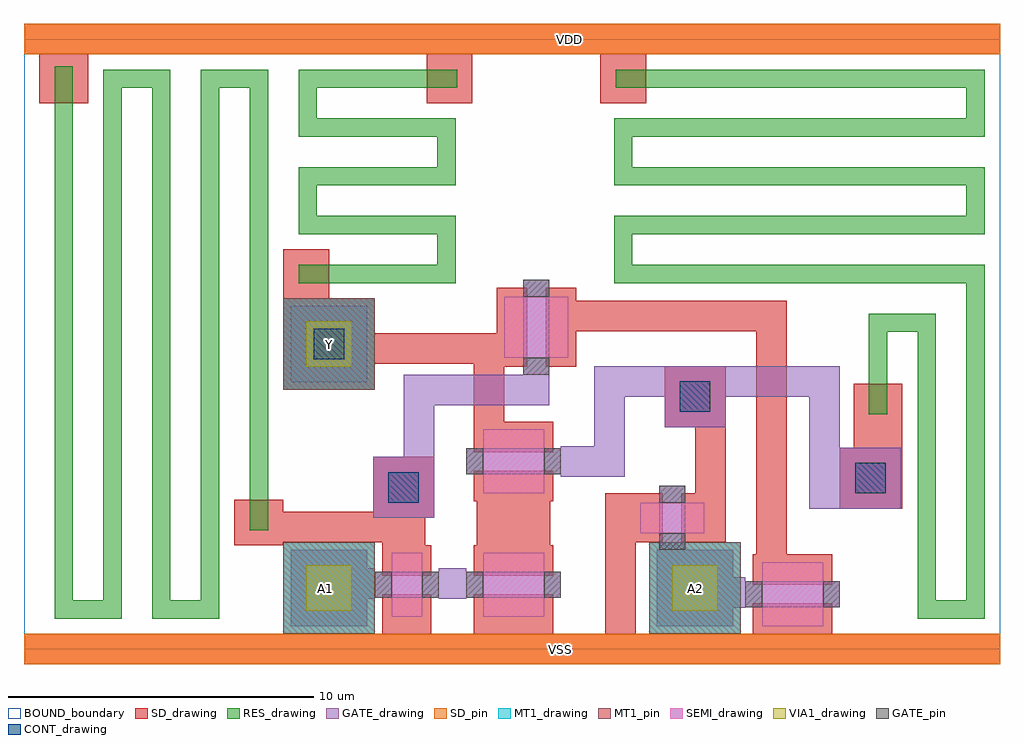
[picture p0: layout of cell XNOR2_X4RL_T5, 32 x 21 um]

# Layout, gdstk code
from math import pi, radians
import gdstk
lib = gdstk.Library(unit=1e-6, precision=1e-09)
def R(c, l, rs):  # rectangles x0, y0, x1, y1
    for r in rs: c.add(gdstk.rectangle(r[:2], r[2:], *l))
def P(c, l, *ps):  # polygons
    for p in ps: c.add(gdstk.Polygon(p, *l))
RES_drawing = (1, 0)
SEMI_drawing = (3, 0)
SD_drawing = (10, 0)
SD_pin = (10, 3)
GATE_drawing = (11, 0)
GATE_pin = (11, 3)
MT1_drawing = (20, 0)
MT1_pin = (20, 3)
CONT_drawing = (30, 0)
VIA1_drawing = (41, 0)
BOUND_boundary = (150, 5)

nch_cdns_772545153670 = lib.new_cell('nch_CDNS_772545153670')
R(nch_cdns_772545153670, SEMI_drawing, [(-1.05,-0.5,1.05,0.5)])
R(nch_cdns_772545153670, SD_drawing, [(-1.3,-0.8,-0.3,0.8), (0.3,-0.8,1.3,0.8)])
R(nch_cdns_772545153670, GATE_drawing, [(-0.425,-1.05,0.425,1.05)])
R(nch_cdns_772545153670, GATE_pin, [(-0.425,-1.05,0.425,-0.5), (-0.425,0.5,0.425,1.05)])

nch_cdns_772545153671 = lib.new_cell('nch_CDNS_772545153671')
R(nch_cdns_772545153671, SEMI_drawing, [(-1.05,-1,1.05,1)])
R(nch_cdns_772545153671, SD_drawing, [(-1.3,-1.3,-0.3,1.3), (0.3,-1.3,1.3,1.3)])
R(nch_cdns_772545153671, GATE_drawing, [(-0.425,-1.55,0.425,1.55)])
R(nch_cdns_772545153671, GATE_pin, [(-0.425,-1.55,0.425,-1), (-0.425,1,0.425,1.55)])

gate_mt1_cdns_7725451536 = lib.new_cell('GATE_MT1_CDNS_772545153670')
R(gate_mt1_cdns_7725451536, GATE_drawing, [(-1.25,-1.25,1.25,1.25)])
R(gate_mt1_cdns_7725451536, MT1_drawing, [(-1.25,-1.25,1.25,1.25)])
R(gate_mt1_cdns_7725451536, VIA1_drawing, [(-0.75,-0.75,0.75,0.75)])

sd_gate_cdns_77254515367 = lib.new_cell('SD_GATE_CDNS_772545153671')
R(sd_gate_cdns_77254515367, SD_drawing, [(-1,-1,1,1)])
R(sd_gate_cdns_77254515367, GATE_drawing, [(-1,-1,1,1)])
R(sd_gate_cdns_77254515367, CONT_drawing, [(-0.5,-0.5,0.5,0.5)])

xnor2_x4rl_t5 = lib.new_cell('XNOR2_X4RL_T5')
R(xnor2_x4rl_t5, SD_drawing, [(27.2,4.6,28.8,8.7), (27.75,4.6,28.75,6.6), (8.5,8.5,11.5,11.5), (8.5,11.5,10,13.1), (8.5,11.5,10,13.1), (0.5,17.9,2.1,19.5), (13.2,17.9,14.7,19.5), (18.9,17.9,20.4,19.5)])
R(xnor2_x4rl_t5, SD_pin, [(0,-0.5,32,0.5), (0,19.5,32,20.5)])
P(xnor2_x4rl_t5, GATE_drawing, [(13.7,2.65),(13.7,1.65),(13.6,1.65),(13.6,1.725),(13.55,1.725),(13.55,2.475),(13.6,2.475),(13.6,2.65)],
  [(23.55,2.35),(23.55,1.35),(23.65,1.35),(23.65,1.425),(23.7,1.425),(23.7,2.175),(23.65,2.175),(23.65,2.35)],
  [(17.7,6.65),(17.7,5.65),(17.6,5.65),(17.6,5.775),(17.55,5.775),(17.55,6.525),(17.6,6.525),(17.6,6.65)],
  [(14.4,2.65),(14.4,1.65),(14.5,1.65),(14.5,1.725),(14.55,1.725),(14.55,2.475),(14.5,2.475),(14.5,2.65)],
  [(11.4,2.65),(11.4,1.65),(11.5,1.65),(11.5,1.725),(11.55,1.725),(11.55,2.475),(11.5,2.475),(11.5,2.65)],
  [(20.75,3.15),(21.725,3.15),(21.725,3.25),(21.625,3.25),(21.625,3.3),(20.875,3.3),(20.875,3.25),(20.75,3.25)],
  [(17.225,8.9),(16.35,8.9),(16.35,9),(16.475,9),(16.475,9.05),(17.225,9.05)])
R(xnor2_x4rl_t5, MT1_drawing, [(8.5,0.5,11.5,3.5), (8.5,0.5,11.5,3.5), (20.5,0.5,23.5,3.5), (8.5,8.5,11.5,11.5)])
R(xnor2_x4rl_t5, MT1_pin, [(8.5,0.5,11.5,3.5), (20.5,0.5,23.5,3.5), (8.5,8.5,11.5,11.5)])
R(xnor2_x4rl_t5, BOUND_boundary, [(0,0,32,20)])
xnor2_x4rl_t5.add(gdstk.FlexPath([(18.1,10.925),(24.5,10.925)], 1, ends=(0, 0.5), simple_path=True, layer=10, datatype=0))  # SD_drawing
xnor2_x4rl_t5.add(gdstk.FlexPath([(22.5,7.275),(22.5,3.5)], 1, ends="flush", simple_path=True, layer=10, datatype=0))  # SD_drawing
xnor2_x4rl_t5.add(gdstk.FlexPath([(11.5,9.85),(15.75,9.85)], 1, ends="flush", simple_path=True, layer=10, datatype=0))  # SD_drawing
xnor2_x4rl_t5.add(gdstk.FlexPath([(24.5,10.925),(24.5,3.1)], 1, ends=(0.5, 0), simple_path=True, layer=10, datatype=0))  # SD_drawing
xnor2_x4rl_t5.add(gdstk.FlexPath([(8.5,4),(11.75,4)], 1, ends="flush", simple_path=True, layer=10, datatype=0))  # SD_drawing
xnor2_x4rl_t5.add(gdstk.FlexPath([(16.15,0.8),(16.15,0)], 2.4, ends="flush", simple_path=True, layer=10, datatype=0))  # SD_drawing
xnor2_x4rl_t5.add(gdstk.FlexPath([(6.9,4.15),(8.5,4.15)], 1.5, ends="flush", simple_path=True, layer=10, datatype=0))  # SD_drawing
xnor2_x4rl_t5.add(gdstk.FlexPath([(16.05,3.4),(16.05,4.85)], 2.4, ends="flush", simple_path=True, layer=10, datatype=0))  # SD_drawing
xnor2_x4rl_t5.add(gdstk.FlexPath([(12.65,1.15),(12.65,0.45)], 1.4, ends="flush", simple_path=True, layer=10, datatype=0))  # SD_drawing
xnor2_x4rl_t5.add(gdstk.FlexPath([(12.45,3.4),(12.45,4.4)], 1.4, ends="flush", simple_path=True, layer=10, datatype=0))  # SD_drawing
xnor2_x4rl_t5.add(gdstk.FlexPath([(19.55,5.1),(19.55,0.5)], 1, ends="flush", simple_path=True, layer=10, datatype=0))  # SD_drawing
xnor2_x4rl_t5.add(gdstk.FlexPath([(15.95,0.8),(15.95,0)], 2.4, ends="flush", simple_path=True, layer=10, datatype=0))  # SD_drawing
xnor2_x4rl_t5.add(gdstk.FlexPath([(12.45,1.15),(12.45,0.45)], 1.4, ends="flush", simple_path=True, layer=10, datatype=0))  # SD_drawing
xnor2_x4rl_t5.add(gdstk.FlexPath([(15.25,9.35),(15.25,7.45)], 1, ends="flush", simple_path=True, layer=10, datatype=0))  # SD_drawing
xnor2_x4rl_t5.add(gdstk.FlexPath([(0,20),(32,20)], 1, ends="flush", simple_path=True, layer=10, datatype=0))  # SD_drawing
xnor2_x4rl_t5.add(gdstk.FlexPath([(0,0),(32,0)], 1, ends="flush", simple_path=True, layer=10, datatype=0))  # SD_drawing
xnor2_x4rl_t5.add(gdstk.FlexPath([(18.7,8.775),(26.25,8.775)], 1, ends=(0, 0.5), simple_path=True, layer=11, datatype=0))  # GATE_drawing
xnor2_x4rl_t5.add(gdstk.FlexPath([(17.225,8.5),(12.95,8.5)], 1, ends=(0, 0.5), simple_path=True, layer=11, datatype=0))  # GATE_drawing
xnor2_x4rl_t5.add(gdstk.FlexPath([(12.95,8.5),(12.95,6.1)], 1, ends=(0.5, 0), simple_path=True, layer=11, datatype=0))  # GATE_drawing
xnor2_x4rl_t5.add(gdstk.FlexPath([(26.25,8.775),(26.25,4.6)], 1, ends=(0.5, 0), simple_path=True, layer=11, datatype=0))  # GATE_drawing
xnor2_x4rl_t5.add(gdstk.FlexPath([(17.7,6.15),(19.2,6.15)], 1, ends=(0, 0.5), simple_path=True, layer=11, datatype=0))  # GATE_drawing
xnor2_x4rl_t5.add(gdstk.FlexPath([(13.7,2.15),(14.4,2.15)], 1, ends="flush", simple_path=True, layer=11, datatype=0))  # GATE_drawing
xnor2_x4rl_t5.add(gdstk.FlexPath([(11.4,2.15),(11.25,2.15)], 1, ends=(0, 0.5), simple_path=True, layer=11, datatype=0))  # GATE_drawing
xnor2_x4rl_t5.add(gdstk.FlexPath([(23.25,1.85),(23.55,1.85)], 1, ends="flush", simple_path=True, layer=11, datatype=0))  # GATE_drawing
xnor2_x4rl_t5.add(gdstk.FlexPath([(19.2,6.15),(19.2,8.775)], 1, ends="extended", simple_path=True, layer=11, datatype=0))  # GATE_drawing
xnor2_x4rl_t5.add(gdstk.FlexPath([(1.3,19.1),(1.3,1.3),(2.9,1.3),(2.9,18.7),(4.5,18.7),(4.5,1.3),(6.1,1.3),(6.1,18.7),(7.7,18.7),(7.7,3.9)], 0.6, ends="flush", simple_path=True, layer=1, datatype=0))  # RES_drawing
xnor2_x4rl_t5.add(gdstk.FlexPath([(14.2,18.7),(9.3,18.7),(9.3,17.1),(13.85,17.1),(13.85,15.5),(9.3,15.5),(9.3,13.9),(13.85,13.9),(13.85,12.3),(9.3,12.3)], 0.6, ends=(0, 0.3), simple_path=True, layer=1, datatype=0))  # RES_drawing
xnor2_x4rl_t5.add(gdstk.FlexPath([(28,7.7),(28,10.7),(29.6,10.7),(29.6,1.3),(31.2,1.3),(31.2,12.3),(19.65,12.3),(19.65,13.9),(31.2,13.9),(31.2,15.5),(19.65,15.5),(19.65,17.1),(31.2,17.1),(31.2,18.7),(19.4,18.7)], 0.6, ends="flush", simple_path=True, layer=1, datatype=0))  # RES_drawing
xnor2_x4rl_t5.add(gdstk.Reference(nch_cdns_772545153670, (21.25,4.3), x_reflection=True))
xnor2_x4rl_t5.add(gdstk.Reference(nch_cdns_772545153670, (12.55,2.1), rotation=pi/2))
xnor2_x4rl_t5.add(gdstk.Reference(nch_cdns_772545153671, (16.05,2.1), rotation=pi/2))
xnor2_x4rl_t5.add(gdstk.Reference(nch_cdns_772545153671, (25.2,1.8), rotation=pi/2))
xnor2_x4rl_t5.add(gdstk.Reference(nch_cdns_772545153671, (16.8,10.55), rotation=pi))
xnor2_x4rl_t5.add(gdstk.Reference(nch_cdns_772545153671, (16.05,6.15), rotation=3*pi/2))
xnor2_x4rl_t5.add(gdstk.Reference(gate_mt1_cdns_7725451536, (10,10), rotation=pi, x_reflection=True))
xnor2_x4rl_t5.add(gdstk.Reference(gate_mt1_cdns_7725451536, (10,10)))
xnor2_x4rl_t5.add(gdstk.Reference(gate_mt1_cdns_7725451536, (10,2), rotation=pi, x_reflection=True))
xnor2_x4rl_t5.add(gdstk.Reference(gate_mt1_cdns_7725451536, (22,2), rotation=pi, x_reflection=True))
xnor2_x4rl_t5.add(gdstk.Reference(sd_gate_cdns_77254515367, (27.75,5.6)))
xnor2_x4rl_t5.add(gdstk.Reference(sd_gate_cdns_77254515367, (22,8.275)))
xnor2_x4rl_t5.add(gdstk.Reference(sd_gate_cdns_77254515367, (12.45,5.3)))
xnor2_x4rl_t5.add(gdstk.Reference(sd_gate_cdns_77254515367, (10,10)))
xnor2_x4rl_t5.add(gdstk.Label('A1', (9.9,2), layer=20, texttype=3))
xnor2_x4rl_t5.add(gdstk.Label('A2', (22,2), layer=20, texttype=3))
xnor2_x4rl_t5.add(gdstk.Label('A1', (9.9,2), layer=20, texttype=3))
xnor2_x4rl_t5.add(gdstk.Label('Y', (10,10), layer=20, texttype=3))
xnor2_x4rl_t5.add(gdstk.Label('VSS', (17.6,0), layer=10, texttype=3))
xnor2_x4rl_t5.add(gdstk.Label('VDD', (17.9,20), layer=10, texttype=3))

lib.write_gds('XNOR2_X4RL_T5.gds')
